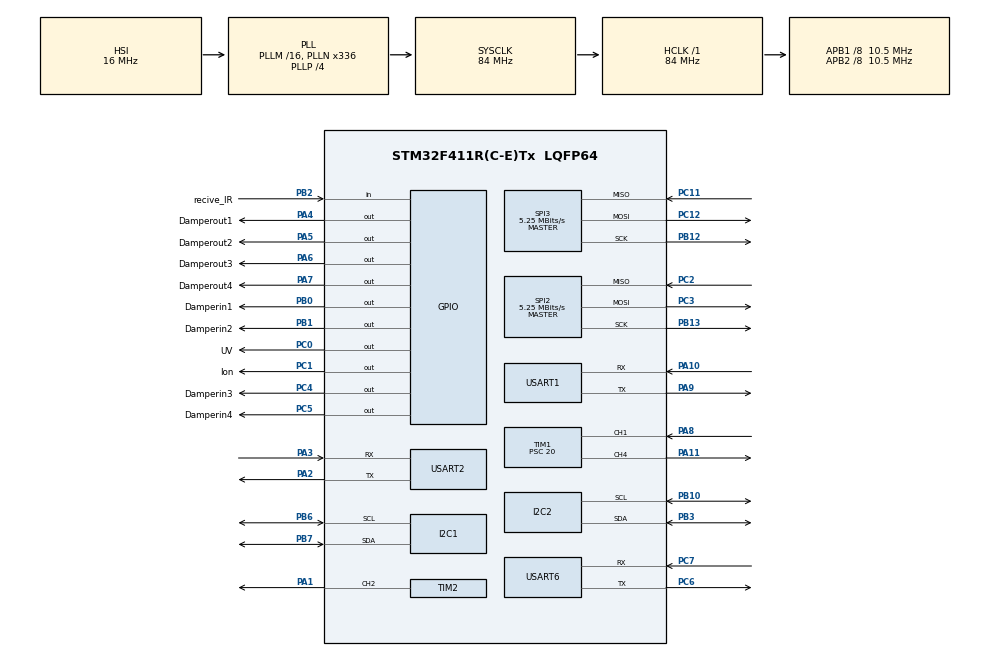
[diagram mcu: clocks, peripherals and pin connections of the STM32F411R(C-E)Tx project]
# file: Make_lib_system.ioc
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FREERTOS.Tasks01=SensorTask,1,128,StartSensor_Task,Default,NULL,Dynamic,NULL,NULL;ControlTask,0,128,StartControl_Task,Default,NULL,Dynamic,NULL,NULL;DisplayTask,-1,128,StartDisplay_task,Default,NULL,Dynamic,NULL,NULL;ServerTask,1,128,StartServer_task,Default,NULL,Dynamic,NULL,NULL
Mcu.Family=STM32F4
Mcu.Name=STM32F411R(C-E)Tx
Mcu.Package=LQFP64
NVIC.I2C1_ER_IRQn=true\:5\:0\:false\:false\:true\:true\:true\:true
NVIC.I2C1_EV_IRQn=true\:5\:0\:false\:false\:true\:true\:true\:true
NVIC.PriorityGroup=NVIC_PRIORITYGROUP_4
NVIC.TIM1_CC_IRQn=true\:5\:0\:false\:false\:true\:true\:true\:true
NVIC.TIM2_IRQn=true\:5\:0\:false\:false\:true\:true\:true\:true
NVIC.TIM3_IRQn=true\:5\:0\:false\:false\:true\:true\:true\:true
NVIC.TIM4_IRQn=true\:0\:0\:false\:false\:true\:false\:false\:true
NVIC.TimeBase=TIM4_IRQn
NVIC.TimeBaseIP=TIM4
NVIC.USART2_IRQn=true\:5\:0\:false\:false\:true\:true\:true\:true
PA1.Signal=S_TIM2_CH2
PA10.Mode=Asynchronous
PA10.Signal=USART1_RX
PA11.Signal=S_TIM1_CH4
PA2.Mode=Asynchronous
PA2.Signal=USART2_TX
PA3.Mode=Asynchronous
PA3.Signal=USART2_RX
PA4.GPIO_Label=Damperout1
PA4.Signal=GPIO_Output
PA5.GPIO_Label=Damperout2
PA5.Signal=GPIO_Output
PA6.GPIO_Label=Damperout3
PA6.Signal=GPIO_Output
PA7.GPIO_Label=Damperout4
PA7.Signal=GPIO_Output
PA8.Signal=S_TIM1_CH1
PA9.Mode=Asynchronous
PA9.Signal=USART1_TX
PB0.GPIO_Label=Damperin1
PB0.Signal=GPIO_Output
PB1.GPIO_Label=Damperin2
PB1.Signal=GPIO_Output
PB10.Mode=I2C
PB10.Signal=I2C2_SCL
PB12.Mode=Full_Duplex_Master
PB12.Signal=SPI3_SCK
PB13.Mode=Full_Duplex_Master
PB13.Signal=SPI2_SCK
PB2.GPIO_Label=recive_IR
PB2.Signal=GPIO_Input
PB3.Mode=I2C
PB3.Signal=I2C2_SDA
PB6.Mode=I2C
PB6.Signal=I2C1_SCL
PB7.Mode=I2C
PB7.Signal=I2C1_SDA
PC0.GPIO_Label=UV
PC0.Signal=GPIO_Output
PC1.GPIO_Label=Ion
PC1.Signal=GPIO_Output
PC11.Mode=Full_Duplex_Master
PC11.Signal=SPI3_MISO
PC12.Mode=Full_Duplex_Master
PC12.Signal=SPI3_MOSI
PC2.Mode=Full_Duplex_Master
PC2.Signal=SPI2_MISO
PC3.Mode=Full_Duplex_Master
PC3.Signal=SPI2_MOSI
PC4.GPIO_Label=Damperin3
PC4.Signal=GPIO_Output
PC5.GPIO_Label=Damperin4
PC5.Signal=GPIO_Output
PC6.Mode=Asynchronous
PC6.Signal=USART6_TX
PC7.Mode=Asynchronous
PC7.Signal=USART6_RX
PH0\ -\ OSC_IN.Mode=HSE-External-Oscillator
PH0\ -\ OSC_IN.Signal=RCC_OSC_IN
PH1\ -\ OSC_OUT.Mode=HSE-External-Oscillator
PH1\ -\ OSC_OUT.Signal=RCC_OSC_OUT
ProjectManager.HeapSize=0x200
ProjectManager.StackSize=0x400
ProjectManager.TargetToolchain=STM32CubeIDE
RCC.48MHZClocksFreq_Value=84000000
RCC.AHBFreq_Value=84000000
RCC.APB1CLKDivider=RCC_HCLK_DIV8
RCC.APB1Freq_Value=10500000
RCC.APB1TimFreq_Value=21000000
RCC.APB2CLKDivider=RCC_HCLK_DIV8
RCC.APB2Freq_Value=10500000
RCC.APB2TimFreq_Value=21000000
RCC.CortexFreq_Value=84000000
RCC.HCLKFreq_Value=84000000
RCC.HSE_VALUE=25000000
RCC.HSI_VALUE=16000000
RCC.LSE_VALUE=32768
RCC.PLLN=336
RCC.PLLP=RCC_PLLP_DIV4
RCC.SYSCLKFreq_VALUE=84000000
RCC.SYSCLKSource=RCC_SYSCLKSOURCE_PLLCLK
RCC.VCOOutputFreq_Value=336000000
SH.S_TIM1_CH1.0=TIM1_CH1,Input_Capture1_from_TI1
SH.S_TIM1_CH4.0=TIM1_CH4,PWM Generation4 CH4
SH.S_TIM2_CH2.0=TIM2_CH2,PWM Generation2 CH2
SPI2.CalculateBaudRate=5.25 MBits/s
SPI2.Direction=SPI_DIRECTION_2LINES
SPI2.Mode=SPI_MODE_MASTER
SPI2.VirtualType=VM_MASTER
SPI3.CalculateBaudRate=5.25 MBits/s
SPI3.Direction=SPI_DIRECTION_2LINES
SPI3.Mode=SPI_MODE_MASTER
SPI3.VirtualType=VM_MASTER
TIM1.Channel-Input_Capture1_from_TI1=TIM_CHANNEL_1
TIM1.Channel-PWM\ Generation4\ CH4=TIM_CHANNEL_4
TIM1.Period=4999
TIM1.Prescaler=20
TIM2.Channel-PWM\ Generation2\ CH2=TIM_CHANNEL_2
USART1.VirtualMode=VM_ASYNC
USART2.VirtualMode=VM_ASYNC
USART6.VirtualMode=VM_ASYNC
VP_FREERTOS_VS_CMSIS_V1.Mode=CMSIS_V1
VP_SYS_VS_tim4.Mode=TIM4
VP_TIM1_VS_ClockSourceINT.Mode=Internal
VP_TIM2_VS_ClockSourceINT.Mode=Internal
VP_TIM3_VS_ClockSourceINT.Mode=Internal
board=custom

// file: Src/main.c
/* USER CODE BEGIN Header */
/**
  ******************************************************************************
  * @file           : main.c
  * @brief          : Main program body
  ******************************************************************************
  * @attention
  *
  * <h2><center>&copy; Copyright (c) 2020 STMicroelectronics.
  * All rights reserved.</center></h2>
  *
  * This software component is licensed by ST under Ultimate Liberty license
  * SLA0044, the "License"; You may not use this file except in compliance with
  * the License. You may obtain a copy of the License at:
  *                             www.st.com/SLA0044
  *
  ******************************************************************************
  */
/* USER CODE END Header */

#include "main.h"
#include "cmsis_os.h"

/* USER CODE BEGIN Includes */
#include "stdbool.h"
#include "string.h"
#include "IRremote.h"
#include "MQTTClient.h"
#include "MQTTConnect.h"
#include "amw_uart.h"
#include "svm30.h"
#include "sensirion_i2c.h"
#include "sm_uart-04l.h"
#include "fan.h"
/* USER CODE END Includes */

/* USER CODE BEGIN PD */
#define MQTT_PUB_TOPIC              "leetest"
#define MQTT_SUB_TOPIC              "diem"
#define MQTT_CLIENT_ID              "Zentri"
#define MQTT_USER                   "myuncjoa"
#define MQTT_PASSWORD               "SvVx1BPwTVqk"
#define MQTT_HOST                   "m24.cloudmqtt.com"
#define MQTT_PORT                   14022
#define MQTT_PUBLISH_PERIOD         5000
#define MQTT_MESSAGE                "{\"name\": \"ERV\", \"id\": \"hethong123\"}"
//** Define SSID và PASSWORD để kết nối wifi **//
#define SSID_WIFI "Ceidanang open"
#define PASS_WIFI "ceidanang"
//** Define MQTT TOPIC cần subcribse từ Broker để giao tiếp vs app **//
#define TOPIC_DEVICE_ID "esp/request/collect/device-info"
#define TOPIC_AIR_QUALITY "esp/request/collect/air-quality"
#define TOPIC_CONTROL_STATE "esp/request/collect/control-state"
#define TOPIC_POWER_ON "esp/request/control/power-on"
#define TOPIC_POWER_OFF "esp/request/control/power-off"
#define TOPIC_NIGHT_MODE "esp/request/control/night_mode"
#define TOPIC_ION "esp/request/control/ion"
#define TOPIC_UV "esp/request/control/uv"
#define TOPIC_FILTER "esp/request/control/filter_mode"
#define TOPIC_CONTROL "esp/request/control/control_mode"
#define TOPIC_SPEED_LOW "esp/request/control/low"
#define TOPIC_SPEED_MED "esp/request/control/med"
#define TOPIC_SPEED_HIGH "esp/request/control/high"
//** Define MQTT Topic cần để publish lên Broker**//
#define TOPIC_PUB_AIR_QUALITY 	"esp/response/collect/air-quality"
#define TOPIC_PUB_CONTROL_STATE  "esp/response/collect/control-state"
#define TOPIC_PUB_INFO "esp/response/collect/device-info"

/* USER CODE END PD */

I2C_HandleTypeDef hi2c1;
I2C_HandleTypeDef hi2c2;

SPI_HandleTypeDef hspi2;
SPI_HandleTypeDef hspi3;

TIM_HandleTypeDef htim1;
TIM_HandleTypeDef htim2;
TIM_HandleTypeDef htim3;

UART_HandleTypeDef huart1;
UART_HandleTypeDef huart2;
UART_HandleTypeDef huart6;

osThreadId SensorTaskHandle;
osThreadId ControlTaskHandle;
osThreadId DisplayTaskHandle;
osThreadId ServerTaskHandle;
/* USER CODE BEGIN PV */
#ifdef __GNUC__
  /* With GCC, small printf (option LD Linker->Libraries->Small printf
     set to 'Yes') calls __io_putchar() */
  #define PUTCHAR_PROTOTYPE int __io_putchar(int ch)
#else
  #define PUTCHAR_PROTOTYPE int fputc(int ch, FILE *f)
#endif /* __GNUC__ */
/* USER CODE END PV */

void SystemClock_Config(void);
static void MX_GPIO_Init(void);
static void MX_I2C1_Init(void);
static void MX_I2C2_Init(void);
static void MX_SPI2_Init(void);
static void MX_SPI3_Init(void);
static void MX_TIM1_Init(void);
static void MX_TIM2_Init(void);
static void MX_TIM3_Init(void);
static void MX_USART1_UART_Init(void);
static void MX_USART2_UART_Init(void);
static void MX_USART6_UART_Init(void);
void StartSensor_Task(void const * argument);
void StartControl_Task(void const * argument);
void StartDisplay_task(void const * argument);
void StartServer_task(void const * argument);

/* USER CODE BEGIN PFP */
// biến mqtt
char  Rx_data[2], Rx_Buffer[40];
unsigned char uart_reponse[512];
int Transfer_cplt = 0;
int Rx_indx = 0;
MQTTClient client = DefaultClient;
Network network;
MQTTPacket_connectData data = MQTTPacket_connectData_initializer;
static MQTTClient client1 = DefaultClient;
uint8_t start_subcribe = 0;
int i = 0;
int ret;
unsigned char send_buf[512];
unsigned char recv_buf[2048];
char AQI[50];
char state[50];
//biến chế độ hệ thống
int night_mode;
int filter_mode;
int speed;
int power;
int Vanst = 0;
int control_mode;
int UV_mode;
int ION_mode;
int ion_val;
bool huong;
char powerc[10];
char speedc[10];
char night[10];
char filter[10];
char control[10];
char uv[10];
char ion[10];
// biến đ�?c giá trị từ sensor

int16_t err;
uint16_t tvoc_ppb = 1, co2_ppm = 2;
uint32_t iaq_baseline;
int32_t temperature = 0, humidity = 0;
uint16_t PM25;
float temp, hum;
float PM25f;
int tmpIntPM1,tmpIntte1,tmpInthu1,tmpIntPM2,tmpIntte2,tmpInthu2;

struct amphenol amphenol1;
// Biến xử lí IR
int SwitchIR;
int ModeIR;
int SpeedIR;
int IonIR;
int flag = 0;
int flagSW, flagSP, flagMode, flagIon;
/* USER CODE END PFP */

/* USER CODE BEGIN 0 */
PUTCHAR_PROTOTYPE
{
  /* Place your implementation of fputc here */
  /* e.g. write a character to the EVAL_COM1 and Loop until the end of transmission */
  HAL_UART_Transmit(&huart2, (uint8_t *)&ch, 1, 0xFFFF);

  return ch;
}
int count = 0;

static int publish(void* payload,void* topic)
{
    char buf[100];
    MQTTMessage message;
    int rc;
    sprintf(buf, payload, (long unsigned int) HAL_GetTick()/1000);
    message.qos = QOS1;
    message.retained = 1;
    message.dup = 0;
    message.payload = (void*)buf;
    message.payloadlen = strlen(buf);

    rc = MQTTPublish(&client, topic, &message);
    return rc;
}
static void receive_handler(MessageData* rx_msg)
{

    char* topic = rx_msg->topicName->lenstring.data;
    //topic[rx_msg->topicName->lenstring.len] = '\0';
    printf("receive mqtt topic %s\r\n", topic);
    char *message = rx_msg->message->payload;
	message[rx_msg->message->payloadlen] = '\0';
	printf("receive mqtt %s\r\n", rx_msg->message->payload);
    if (!strncmp(topic,TOPIC_DEVICE_ID, strlen(TOPIC_DEVICE_ID))){
    	publish(MQTT_MESSAGE,TOPIC_PUB_INFO);
    }
    else if (!strncmp(topic,TOPIC_AIR_QUALITY, strlen(TOPIC_AIR_QUALITY))){
    	if (!strncmp(rx_msg->message->payload, "get-hethong123", rx_msg->message->payloadlen)){
    		publish(AQI,TOPIC_PUB_AIR_QUALITY);
    	}
    }
    else if (!strncmp(topic,TOPIC_CONTROL_STATE, strlen(TOPIC_CONTROL_STATE))){
		if (!strncmp(rx_msg->message->payload, "get-hethong123", rx_msg->message->payloadlen)){
			publish(state,TOPIC_PUB_CONTROL_STATE);
		}
    }
    else if (!strncmp(topic,TOPIC_POWER_ON, strlen(TOPIC_POWER_ON))){
		if (!strncmp(rx_msg->message->payload, "control-hethong123", rx_msg->message->payloadlen)){
			power = Power_On;
			speed = med;
			//fan_12_run(medspeed);
			xiaomi_fan_run(MED_SPEED);
			SwitchIR = 1;
		}
	}
    else if (!strncmp(topic,TOPIC_POWER_OFF, strlen(TOPIC_POWER_OFF))){
		if (!strncmp(rx_msg->message->payload, "control-hethong123", rx_msg->message->payloadlen)){
			power = Power_Off;
			speed = Power_Off;
			//fan_1_stop();
			//fan_2_stop();
			xiaomi_fan_stop();
			SwitchIR = 2;
		}
	}
    else if (!strncmp(topic,TOPIC_SPEED_LOW, strlen(TOPIC_POWER_OFF))){
		if (!strncmp(rx_msg->message->payload, "control-hethong123", rx_msg->message->payloadlen)){
			speed = low;
			//fan_12_run(lowspeed);
			xiaomi_fan_run(LOW_SPEED);
			SpeedIR = 1;
		}
	}
    else if (!strncmp(topic, TOPIC_SPEED_MED, strlen(TOPIC_POWER_OFF))){
   		if (!strncmp(rx_msg->message->payload, "control-hethong123", rx_msg->message->payloadlen)){
   			speed = med;
   			//fan_12_run(medspeed);
   			xiaomi_fan_run(MED_SPEED);
   			SpeedIR=2;
   		}
   	}
    else if (!strncmp(topic, TOPIC_SPEED_HIGH, strlen(TOPIC_SPEED_HIGH))){
		if (!strncmp(rx_msg->message->payload, "control-hethong123", rx_msg->message->payloadlen)){
			speed = hight;
			//fan_12_run(hightspeed);
			xiaomi_fan_run(HIGH_SPEED);
			SpeedIR=3;
		}
	}
    else if (!strncmp(topic,TOPIC_NIGHT_MODE, strlen(TOPIC_NIGHT_MODE))){
		if (!strncmp(rx_msg->message->payload, "control-hethong123 on", rx_msg->message->payloadlen)){
			speed = low;
			//fan_12_run(lowspeed);
			xiaomi_fan_run(LOW_SPEED);
			night_mode = Nightmode_On;
			ModeIR = 3;

		}
		else if (!strncmp(rx_msg->message->payload, "control-hethong123 off", rx_msg->message->payloadlen)){
			speed = med;
			//fan_12_run(medspeed);
			xiaomi_fan_run(MED_SPEED);
			night_mode = Nightmode_Off;
		}
	}
    else if (!strncmp(topic,TOPIC_FILTER, strlen(TOPIC_FILTER))){
		if (!strncmp(rx_msg->message->payload, "control-hethong123 fresh_air", rx_msg->message->payloadlen)){
			filter_mode = Fresh_Air;
			Vanst = 1;
			ModeIR = 1;
		}
		else if (!strncmp(rx_msg->message->payload, "control-hethong123 indoor", rx_msg->message->payloadlen)){
			filter_mode = Indoor;
			Vanst = 0;
			ModeIR = 2;
		}
	}
    else if (!strncmp(topic, TOPIC_CONTROL, strlen(TOPIC_CONTROL))){
  		if (!strncmp(rx_msg->message->payload, "control-hethong123 auto", rx_msg->message->payloadlen)){
  			control_mode = Auto ;
  		}
  		else if (!strncmp(rx_msg->message->payload, "control-hethong123 manual", rx_msg->message->payloadlen)){
  			control_mode = Manual;
  		}
  	}
    else if (!strncmp(topic, TOPIC_UV, strlen(TOPIC_UV))){
   		if (!strncmp(rx_msg->message->payload, "control-hethong123 on", rx_msg->message->payloadlen)){
   			UV_mode = UVon;
   			HAL_GPIO_WritePin(UV_GPIO_Port, UV_Pin, GPIO_PIN_SET);

   		}
   		else if (!strncmp(rx_msg->message->payload, "control-hethong123 off", rx_msg->message->payloadlen)){
   			UV_mode = UVoff;
   			HAL_GPIO_WritePin(UV_GPIO_Port, UV_Pin, GPIO_PIN_RESET);

   		}
   	}
    else if (!strncmp(topic, TOPIC_ION, strlen(TOPIC_ION))){
		if (!strncmp(rx_msg->message->payload, "control-hethong123 on", rx_msg->message->payloadlen)){
			ION_mode = IONon;
			HAL_GPIO_WritePin(Ion_GPIO_Port, Ion_Pin, GPIO_PIN_SET);
			IonIR = 1;

		}
		else if (!strncmp(rx_msg->message->payload, "control-hethong123 off", rx_msg->message->payloadlen)){
			ION_mode = IONoff;
			HAL_GPIO_WritePin(Ion_GPIO_Port, Ion_Pin, GPIO_PIN_SET);
			IonIR = 2;
		}
	}

}
void Convertvalue(void){

	//PM25 = 22.33;
	tmpIntPM1 = (int)PM25;
	float tmpFPM = PM25 - tmpIntPM1;
	tmpIntPM2 = trunc(tmpFPM * 100);
	//temperature = 9977;
	temp = (float)(temperature/1000.0f);
	tmpIntte1 = (int)temp;
	float tmpT = temp - tmpIntte1;
	tmpIntte2 = trunc(tmpT * 100);
	//humidity = 9876;
	hum = (float)(humidity/1000.0f);
	tmpInthu1 = (int) hum;
	float tmpH = hum - tmpInthu1;
	tmpInthu2 = trunc(tmpH * 100);
}
void Control_IR(void){

	 if (SwitchIR == 1 && flagSW == 1){
			  power = Power_On;
			  speed = med;
			  //fan_12_run(medspeed);
			  xiaomi_fan_run(MED_SPEED);
			  flagSW = 0;
		  }
		  else if (SwitchIR == 2 && flagSW == 1) {
			  power = Power_Off;
			  speed = Power_Off;
			  //fan_1_stop();
			  //fan_2_stop();
			  xiaomi_fan_stop();
			  flagSW = 0;
		  }
		  if (SpeedIR == 1 && flagSP == 1 && SwitchIR == 1){
			  //fan_12_run(lowspeed);
			  xiaomi_fan_run(LOW_SPEED);
			  flagSP = 0;
		  }
		  else if (SpeedIR == 2 && flagSP == 1 && SwitchIR == 1){
			  //fan_12_run(medspeed);
			  xiaomi_fan_run(MED_SPEED);
			  flagSP = 0;
		  }
		  else if (SpeedIR == 3 && flagSP == 1 && SwitchIR == 1){
			 //fan_12_run(hightspeed);
			  xiaomi_fan_run(HIGH_SPEED);
			  flagSP = 0;
		  }
		  if (ModeIR == 1 && flagMode == 1 && SwitchIR == 1){
			  filter_mode = Fresh_Air;
			  Vanst = 1;
			  night_mode = Nightmode_Off;
			  flagMode = 0;
		  }
		  else if (ModeIR == 2 && flagMode == 1 && SwitchIR == 1){
			  filter_mode = Indoor;
			  Vanst = 0;
			  night_mode = Nightmode_Off;
			  flagMode = 0;
		  }
		  else if (ModeIR == 3 && flagMode == 1 && SwitchIR == 1){
			  speed = low;
			  //fan_12_run(lowspeed);
			  xiaomi_fan_run(LOW_SPEED);
			  night_mode = Nightmode_On;
			  flagMode = 0;

		  }
		  if (IonIR == 1 && flagIon == 1 && SwitchIR == 1){
			  ION_mode = IONon;
			  HAL_GPIO_WritePin(Ion_GPIO_Port, Ion_Pin, GPIO_PIN_SET);
			  flagIon = 0;
		  }
		  else if (IonIR == 2 && flagIon == 1 && SwitchIR == 1) {
			  ION_mode = IONoff;
			  HAL_GPIO_WritePin(Ion_GPIO_Port, Ion_Pin, GPIO_PIN_RESET);
			  flagIon = 0;
		  }
}
void checkState(){
	if (power == 0){
		sprintf(powerc,"OFF");
	}
	else {
		sprintf(powerc,"ON");
	}
	if (speed == 0){
		sprintf(speedc,"0");
		}
	else if (speed == 1) {
		sprintf(speedc,"1");
	}
	else if (speed == 2) {
		sprintf(speedc,"2");
	}
	else {
		sprintf(speedc,"3");
	}
	if (night_mode == 0){
		sprintf(night,"off");
	}
	else {
		sprintf(night,"on");
	}

	if (filter_mode == 0){
		sprintf(filter,"fresh");
	}
	else {
		sprintf(filter,"indoor");
	}

	if (control_mode == 0){
		sprintf(control,"manual");
	}
	else {
		sprintf(control,"auto");
	}

	if (UV_mode == 0){
		sprintf(uv,"off");
	}
	else {
		sprintf(uv,"on");
	}
	if (ION_mode == 0){
		sprintf(ion,"off");
	}
	else {
		sprintf(ion,"on");
	}
	sprintf(state,"%s-%s-%s-%s-%s-%s-%s",powerc,speedc,night,filter,control,uv,ion);

}
/* mình không sử dụng cái này*/
void testMQTT(){

	Network network;
	MQTTPacket_connectData data = MQTTPacket_connectData_initializer;

	Timer timer;
	// Doan nay co the thay bang ham
	  memset(uart_reponse, 0, sizeof(uart_reponse));
	  amw_write("set system.cmd.format machine\r\n");
	  i = getCmdResponse(uart_reponse);
	  printf("%d, %s\r\n", i, uart_reponse);

	  data.MQTTVersion = 4;
	  data.clientID.cstring = MQTT_CLIENT_ID;
	  data.username.cstring = MQTT_USER;
	  data.password.cstring = MQTT_PASSWORD;
	  HAL_Delay(100);
	  if(setupNetwork(SSID_WIFI, PASS_WIFI)){
		  printf("setup network failed\r\n");
	  }
	  HAL_Delay(100);
	  if(NetworkInit(&network))
		  printf("init failed\r\n");
	  else
		  printf("network up\r\n");
	  HAL_Delay(100);
	  ret = isTCPPortOpen();
	  if(ret >= 0){
		  amw_write("close 0\r\n");
		  i = getCmdResponse(uart_reponse);
		  printf("%d, %s\r\n", i, uart_reponse);
	  }
	  HAL_Delay(100);
	  ret = NetworkConnect(&network, MQTT_HOST, MQTT_PORT);
	  if(ret == FAILURE)
	  {
		  // error, return
		  printf("network connect tcp failed\r\n");
		  HAL_Delay(100);
		  amw_write("close 0\r\n");
		  i = getCmdResponse(uart_reponse);
		  printf("%d, %s\r\n", i, uart_reponse);
		  return ret;
	  }
	  printf("network connect tcp success\r\n");
	  HAL_Delay(250);

	  MQTTClientInit(&client, &network, 10000, send_buf, sizeof(send_buf), recv_buf, sizeof(recv_buf));
	  HAL_Delay(250);

	  ret = MQTTConnect(&client, &data);
	  if(ret != SUCCESS)
	  {
		  // error, return
		  printf("failed to connect mqtt\r\n");
		  NetworkDisconnect(&network);
		  return ret;
	  }
	  printf("test success to connect mqtt\r\n");
	  HAL_Delay(250);
	  MQTTSubscribe(&client, MQTT_SUB_TOPIC, QOS1, receive_handler);
	  start_subcribe = 1;
	  HAL_Delay(250);
	  publish(MQTT_MESSAGE,MQTT_PUB_TOPIC);
	  TimerInit(&timer);
	  TimerCountdownMS(&timer, 90000);
	  while (!TimerIsExpired(&timer))
	  {
	    /* USER CODE END WHILE */

	    /* USER CODE BEGIN 3 */
		  MQTTYield(&client, 500);
	  }
	  printf("test mqtt disconnect\r\n");
	  MQTTDisconnect(&client);
	  NetworkDisconnect(&network);
	  /* USER CODE END 3 */
}

void subcribeMQTT(){
	printf("subcribe\r\n");
	MQTTSubscribe(&client, "lee", QOS1, receive_handler);
	HAL_Delay(250);
	MQTTSubscribe(&client, MQTT_SUB_TOPIC, QOS1, receive_handler);
	printf("finish subcribe\r\n");
}

void initMQTT(){

	Timer timer;
	// Doan nay co the thay bang ham
	  memset(uart_reponse, 0, sizeof(uart_reponse));
	  amw_write("set system.cmd.format machine\r\n");
	  i = getCmdResponse(uart_reponse);
	  printf("%d, %s\r\n", i, uart_reponse);

	  data.MQTTVersion = 4;
	  data.clientID.cstring = MQTT_CLIENT_ID;
	  data.username.cstring = MQTT_USER;
	  data.password.cstring = MQTT_PASSWORD;
	  HAL_Delay(100);
	  if(setupNetwork(SSID_WIFI, PASS_WIFI)){
		  printf("setup network failed\r\n");
	  }
	  HAL_Delay(100);
	  if(NetworkInit(&network))
		  printf("init failed\r\n");
	  else
		  printf("network up\r\n");
	  HAL_Delay(100);
	  ret = isTCPPortOpen();
	  if(ret >= 0){
		  amw_write("close 0\r\n");
		  i = getCmdResponse(uart_reponse);
		  printf("%d, %s\r\n", i, uart_reponse);
	  }
	  HAL_Delay(100);
	  ret = NetworkConnect(&network, MQTT_HOST, MQTT_PORT);
	  if(ret == FAILURE)
	  {
		  // error, return
		  printf("network connect tcp failed\r\n");
		  HAL_Delay(100);
		  amw_write("close 0\r\n");
		  i = getCmdResponse(uart_reponse);
		  printf("%d, %s\r\n", i, uart_reponse);
		  return ret;
	  }
	  printf("network connect tcp success\r\n");
	  HAL_Delay(250);

	  MQTTClientInit(&client, &network, 10000, send_buf, sizeof(send_buf), recv_buf, sizeof(recv_buf));
	  HAL_Delay(250);

	  ret = MQTTConnect(&client, &data);
	  if(ret != SUCCESS)
	  {
		  // error, return
		  printf("failed to connect mqtt\r\n");
		  NetworkDisconnect(&network);
		  return ret;
	  }
	  printf("test success to connect mqtt\r\n");
	  HAL_Delay(250);
	  /*printf("subcribe init\r\n");
	MQTTSubscribe(&client, MQTT_SUB_TOPIC, QOS1, receive_handler);
	HAL_Delay(250);
	printf("finish subcribe init\r\n");
	publish(MQTT_MESSAGE,MQTT_PUB_TOPIC);*/
	  //subcribeMQTT();
	  /* USER CODE END 3 */
}

/* Khởi tạo kết nối MQTT */
void init_MQTT(void){
		//Network network;
		//MQTTPacket_connectData data = MQTTPacket_connectData_initializer;

		Timer timer;
		// Doan nay co the thay bang ham
		  memset(uart_reponse, 0, sizeof(uart_reponse));
		  amw_write("set system.cmd.format machine\r\n");
		  i = getCmdResponse(uart_reponse);
		  printf("%d, %s\r\n", i, uart_reponse);

		  data.MQTTVersion = 4;
		  data.clientID.cstring = MQTT_CLIENT_ID;
		  data.username.cstring = MQTT_USER;
		  data.password.cstring = MQTT_PASSWORD;
		  HAL_Delay(100);
		  if(setupNetwork(SSID_WIFI, PASS_WIFI)){
			  printf("setup network failed\r\n");
		  }
		  HAL_Delay(100);
		  if(NetworkInit(&network))
			  printf("init failed\r\n");
		  else
			  printf("network up\r\n");
		  HAL_Delay(100);
		  ret = isTCPPortOpen();
		  if(ret >= 0){
			  amw_write("close 0\r\n");
			  i = getCmdResponse(uart_reponse);
			  printf("%d, %s\r\n", i, uart_reponse);
		  }
		  HAL_Delay(100);
		  ret = NetworkConnect(&network, MQTT_HOST, MQTT_PORT);
		  if(ret == FAILURE)
		  {
			  // error, return
			  printf("network connect tcp failed\r\n");
			  HAL_Delay(100);
			  amw_write("close 0\r\n");
			  i = getCmdResponse(uart_reponse);
			  printf("%d, %s\r\n", i, uart_reponse);
			  return ret;
		  }

		  printf("network connect tcp success\r\n");
		  HAL_Delay(250);

		  MQTTClientInit(&client1, &network, 10000, send_buf, sizeof(send_buf), recv_buf, sizeof(recv_buf));
		  HAL_Delay(250);

		  ret = MQTTConnect(&client1, &data);
		  if(ret != SUCCESS)
		  {
			  // error, return
			  printf("failed to connect mqtt\r\n");
			  NetworkDisconnect(&network);
			  return ret;
		  }
		  printf("success to connect mqtt\r\n");

}
void Subcribes_MQTT(void){
	MQTTSubscribe(&client1, MQTT_SUB_TOPIC, QOS1, receive_handler);
	HAL_Delay(250);
	 MQTTSubscribe(&client1, TOPIC_DEVICE_ID, QOS0, receive_handler);
	 HAL_Delay(250);
	 MQTTSubscribe(&client1, TOPIC_AIR_QUALITY, QOS0, receive_handler);
	 HAL_Delay(250);
	 MQTTSubscribe(&client1, TOPIC_CONTROL_STATE, QOS0, receive_handler);
	 HAL_Delay(250);
	 MQTTSubscribe(&client1, TOPIC_POWER_ON, QOS0, receive_handler);
	 HAL_Delay(250);
	 MQTTSubscribe(&client1, TOPIC_POWER_OFF, QOS0, receive_handler);
	 HAL_Delay(250);
	 MQTTSubscribe(&client1, TOPIC_NIGHT_MODE, QOS0, receive_handler);
	 HAL_Delay(250);
	 MQTTSubscribe(&client1, TOPIC_ION, QOS0, receive_handler);
	 HAL_Delay(250);
	 MQTTSubscribe(&client1, TOPIC_UV, QOS0, receive_handler);
	 HAL_Delay(250);
	 MQTTSubscribe(&client1, TOPIC_FILTER, QOS0, receive_handler);
	 HAL_Delay(250);
	 MQTTSubscribe(&client1, TOPIC_CONTROL, QOS0, receive_handler);
	 HAL_Delay(250);
	 MQTTSubscribe(&client1, TOPIC_SPEED_LOW, QOS0, receive_handler);
	 HAL_Delay(250);
	 MQTTSubscribe(&client1, TOPIC_SPEED_MED, QOS0, receive_handler);
	 HAL_Delay(250);
	 MQTTSubscribe(&client1, TOPIC_SPEED_HIGH, QOS0, receive_handler);
	 HAL_Delay(250);
	 MQTTSubscribe(&client1, "can", QOS0, receive_handler);
	 printf("finish subcribe\r\n");

}
/* USER CODE END 0 */

int main(void)
{

  /* MCU Configuration--------------------------------------------------------*/

  /* Reset of all peripherals, Initializes the Flash interface and the Systick. */
  HAL_Init();

  /* Configure the system clock */
  SystemClock_Config();

  /* Initialize all configured peripherals */
  MX_GPIO_Init();
  MX_I2C1_Init();
  MX_I2C2_Init();
  MX_SPI2_Init();
  MX_SPI3_Init();
  MX_TIM1_Init();
  MX_TIM2_Init();
  MX_TIM3_Init();
  MX_USART1_UART_Init();
  MX_USART2_UART_Init();
  MX_USART6_UART_Init();
  /* USER CODE BEGIN 2 */
  //khởi tạo kết nối cho IR
  my_enableIRIn();
  printf("test\r\n");
   //testMQTT();
  // Khởi tạo kết nối đến cảm biến
   //i2c_init_sensirion(&hi2c2);
   //SM_UART_04L_Init(&huart6);
   //err = sgp30_iaq_init();
   //startToRevSM04L();

  // Khởi tạo PWM cho quạt
  	 fan_init();

  // Khởi tạo kết nối MQTT
  	  //init_MQTT();
  	 //initMQTT();

  // Khởi tạo chế độ ban đầu cho hệ thống, ở đây sau này là lấy các biến lưu trong EEPROM
  night_mode = Nightmode_Off;
  speed = low;
  power = Power_On;
  control_mode = Manual;
  filter_mode = Fresh_Air;
  UV_mode = UVon;
  ION_mode = IONoff;
  ion_val = 0;
  HAL_GPIO_WritePin(UV_GPIO_Port, UV_Pin, GPIO_PIN_SET);
  HAL_GPIO_WritePin(Ion_GPIO_Port, Ion_Pin, GPIO_PIN_RESET);
  //fan_12_run(lowspeed);
  xiaomi_fan_run(LOW_SPEED);
  //Subcribes_MQTT();

  // subcribeMQTT();

  /* USER CODE END 2 */

  /* Create the thread(s) */
  /* definition and creation of SensorTask */
  osThreadDef(SensorTask, StartSensor_Task, osPriorityAboveNormal, 0, 128);
  SensorTaskHandle = osThreadCreate(osThread(SensorTask), NULL);

  /* definition and creation of ControlTask */
  osThreadDef(ControlTask, StartControl_Task, osPriorityNormal, 0, 128);
  ControlTaskHandle = osThreadCreate(osThread(ControlTask), NULL);

  /* definition and creation of DisplayTask */
  osThreadDef(DisplayTask, StartDisplay_task, osPriorityBelowNormal, 0, 128);
  DisplayTaskHandle = osThreadCreate(osThread(DisplayTask), NULL);

  /* definition and creation of ServerTask */
  osThreadDef(ServerTask, StartServer_task, osPriorityAboveNormal, 0, 128);
  ServerTaskHandle = osThreadCreate(osThread(ServerTask), NULL);

  /* Start scheduler */
  osKernelStart();

  /* We should never get here as control is now taken by the scheduler */

  /* Infinite loop */
  while (1)
  {

    /* USER CODE BEGIN 3 */
		  MQTTYield(&client, 500);
	  }
	  printf("test mqtt disconnect\r\n");
	  MQTTDisconnect(&client);
	  NetworkDisconnect(&network);
  /* USER CODE END 3 */
}

void SystemClock_Config(void)
{
  RCC_OscInitTypeDef RCC_OscInitStruct = {0};
  RCC_ClkInitTypeDef RCC_ClkInitStruct = {0};

  /** Configure the main internal regulator output voltage
  */
  __HAL_RCC_PWR_CLK_ENABLE();
  __HAL_PWR_VOLTAGESCALING_CONFIG(PWR_REGULATOR_VOLTAGE_SCALE1);
  /** Initializes the CPU, AHB and APB busses clocks
  */
  RCC_OscInitStruct.OscillatorType = RCC_OSCILLATORTYPE_HSI;
  RCC_OscInitStruct.HSIState = RCC_HSI_ON;
  RCC_OscInitStruct.HSICalibrationValue = RCC_HSICALIBRATION_DEFAULT;
  RCC_OscInitStruct.PLL.PLLState = RCC_PLL_ON;
  RCC_OscInitStruct.PLL.PLLSource = RCC_PLLSOURCE_HSI;
  RCC_OscInitStruct.PLL.PLLM = 16;
  RCC_OscInitStruct.PLL.PLLN = 336;
  RCC_OscInitStruct.PLL.PLLP = RCC_PLLP_DIV4;
  RCC_OscInitStruct.PLL.PLLQ = 4;
  if (HAL_RCC_OscConfig(&RCC_OscInitStruct) != HAL_OK)
  {
    Error_Handler();
  }
  /** Initializes the CPU, AHB and APB busses clocks
  */
  RCC_ClkInitStruct.ClockType = RCC_CLOCKTYPE_HCLK|RCC_CLOCKTYPE_SYSCLK
                              |RCC_CLOCKTYPE_PCLK1|RCC_CLOCKTYPE_PCLK2;
  RCC_ClkInitStruct.SYSCLKSource = RCC_SYSCLKSOURCE_PLLCLK;
  RCC_ClkInitStruct.AHBCLKDivider = RCC_SYSCLK_DIV1;
  RCC_ClkInitStruct.APB1CLKDivider = RCC_HCLK_DIV8;
  RCC_ClkInitStruct.APB2CLKDivider = RCC_HCLK_DIV8;

  if (HAL_RCC_ClockConfig(&RCC_ClkInitStruct, FLASH_LATENCY_2) != HAL_OK)
  {
    Error_Handler();
  }
}

static void MX_I2C1_Init(void)
{

  hi2c1.Instance = I2C1;
  hi2c1.Init.ClockSpeed = 100000;
  hi2c1.Init.DutyCycle = I2C_DUTYCYCLE_2;
  hi2c1.Init.OwnAddress1 = 0;
  hi2c1.Init.AddressingMode = I2C_ADDRESSINGMODE_7BIT;
  hi2c1.Init.DualAddressMode = I2C_DUALADDRESS_DISABLE;
  hi2c1.Init.OwnAddress2 = 0;
  hi2c1.Init.GeneralCallMode = I2C_GENERALCALL_DISABLE;
  hi2c1.Init.NoStretchMode = I2C_NOSTRETCH_DISABLE;
  if (HAL_I2C_Init(&hi2c1) != HAL_OK)
  {
    Error_Handler();
  }

}

static void MX_I2C2_Init(void)
{

  hi2c2.Instance = I2C2;
  hi2c2.Init.ClockSpeed = 100000;
  hi2c2.Init.DutyCycle = I2C_DUTYCYCLE_2;
  hi2c2.Init.OwnAddress1 = 0;
  hi2c2.Init.AddressingMode = I2C_ADDRESSINGMODE_7BIT;
  hi2c2.Init.DualAddressMode = I2C_DUALADDRESS_DISABLE;
  hi2c2.Init.OwnAddress2 = 0;
  hi2c2.Init.GeneralCallMode = I2C_GENERALCALL_DISABLE;
  hi2c2.Init.NoStretchMode = I2C_NOSTRETCH_DISABLE;
  if (HAL_I2C_Init(&hi2c2) != HAL_OK)
  {
    Error_Handler();
  }

}

static void MX_SPI2_Init(void)
{

  /* SPI2 parameter configuration*/
  hspi2.Instance = SPI2;
  hspi2.Init.Mode = SPI_MODE_MASTER;
  hspi2.Init.Direction = SPI_DIRECTION_2LINES;
  hspi2.Init.DataSize = SPI_DATASIZE_8BIT;
  hspi2.Init.CLKPolarity = SPI_POLARITY_LOW;
  hspi2.Init.CLKPhase = SPI_PHASE_1EDGE;
  hspi2.Init.NSS = SPI_NSS_SOFT;
  hspi2.Init.BaudRatePrescaler = SPI_BAUDRATEPRESCALER_2;
  hspi2.Init.FirstBit = SPI_FIRSTBIT_MSB;
  hspi2.Init.TIMode = SPI_TIMODE_DISABLE;
  hspi2.Init.CRCCalculation = SPI_CRCCALCULATION_DISABLE;
  hspi2.Init.CRCPolynomial = 10;
  if (HAL_SPI_Init(&hspi2) != HAL_OK)
  {
    Error_Handler();
  }

}

static void MX_SPI3_Init(void)
{

  /* SPI3 parameter configuration*/
  hspi3.Instance = SPI3;
  hspi3.Init.Mode = SPI_MODE_MASTER;
  hspi3.Init.Direction = SPI_DIRECTION_2LINES;
  hspi3.Init.DataSize = SPI_DATASIZE_8BIT;
  hspi3.Init.CLKPolarity = SPI_POLARITY_LOW;
  hspi3.Init.CLKPhase = SPI_PHASE_1EDGE;
  hspi3.Init.NSS = SPI_NSS_SOFT;
  hspi3.Init.BaudRatePrescaler = SPI_BAUDRATEPRESCALER_2;
  hspi3.Init.FirstBit = SPI_FIRSTBIT_MSB;
  hspi3.Init.TIMode = SPI_TIMODE_DISABLE;
  hspi3.Init.CRCCalculation = SPI_CRCCALCULATION_DISABLE;
  hspi3.Init.CRCPolynomial = 10;
  if (HAL_SPI_Init(&hspi3) != HAL_OK)
  {
    Error_Handler();
  }

}

static void MX_TIM1_Init(void)
{

  TIM_ClockConfigTypeDef sClockSourceConfig = {0};
  TIM_MasterConfigTypeDef sMasterConfig = {0};
  TIM_IC_InitTypeDef sConfigIC = {0};
  TIM_OC_InitTypeDef sConfigOC = {0};
  TIM_BreakDeadTimeConfigTypeDef sBreakDeadTimeConfig = {0};

  htim1.Instance = TIM1;
  htim1.Init.Prescaler = 20;
  htim1.Init.CounterMode = TIM_COUNTERMODE_UP;
  htim1.Init.Period = 4999;
  htim1.Init.ClockDivision = TIM_CLOCKDIVISION_DIV1;
  htim1.Init.RepetitionCounter = 0;
  htim1.Init.AutoReloadPreload = TIM_AUTORELOAD_PRELOAD_DISABLE;
  if (HAL_TIM_Base_Init(&htim1) != HAL_OK)
  {
    Error_Handler();
  }
  sClockSourceConfig.ClockSource = TIM_CLOCKSOURCE_INTERNAL;
  if (HAL_TIM_ConfigClockSource(&htim1, &sClockSourceConfig) != HAL_OK)
  {
    Error_Handler();
  }
  if (HAL_TIM_IC_Init(&htim1) != HAL_OK)
  {
    Error_Handler();
  }
  if (HAL_TIM_PWM_Init(&htim1) != HAL_OK)
  {
    Error_Handler();
  }
  sMasterConfig.MasterOutputTrigger = TIM_TRGO_RESET;
  sMasterConfig.MasterSlaveMode = TIM_MASTERSLAVEMODE_DISABLE;
  if (HAL_TIMEx_MasterConfigSynchronization(&htim1, &sMasterConfig) != HAL_OK)
  {
    Error_Handler();
  }
  sConfigIC.ICPolarity = TIM_INPUTCHANNELPOLARITY_RISING;
  sConfigIC.ICSelection = TIM_ICSELECTION_DIRECTTI;
  sConfigIC.ICPrescaler = TIM_ICPSC_DIV1;
  sConfigIC.ICFilter = 0;
  if (HAL_TIM_IC_ConfigChannel(&htim1, &sConfigIC, TIM_CHANNEL_1) != HAL_OK)
  {
    Error_Handler();
  }
  sConfigOC.OCMode = TIM_OCMODE_PWM1;
  sConfigOC.Pulse = 0;
  sConfigOC.OCPolarity = TIM_OCPOLARITY_HIGH;
  sConfigOC.OCFastMode = TIM_OCFAST_DISABLE;
  sConfigOC.OCIdleState = TIM_OCIDLESTATE_RESET;
  sConfigOC.OCNIdleState = TIM_OCNIDLESTATE_RESET;
  if (HAL_TIM_PWM_ConfigChannel(&htim1, &sConfigOC, TIM_CHANNEL_4) != HAL_OK)
  {
    Error_Handler();
  }
  sBreakDeadTimeConfig.OffStateRunMode = TIM_OSSR_DISABLE;
  sBreakDeadTimeConfig.OffStateIDLEMode = TIM_OSSI_DISABLE;
  sBreakDeadTimeConfig.LockLevel = TIM_LOCKLEVEL_OFF;
  sBreakDeadTimeConfig.DeadTime = 0;
  sBreakDeadTimeConfig.BreakState = TIM_BREAK_DISABLE;
  sBreakDeadTimeConfig.BreakPolarity = TIM_BREAKPOLARITY_HIGH;
  sBreakDeadTimeConfig.AutomaticOutput = TIM_AUTOMATICOUTPUT_DISABLE;
  if (HAL_TIMEx_ConfigBreakDeadTime(&htim1, &sBreakDeadTimeConfig) != HAL_OK)
  {
    Error_Handler();
  }
  HAL_TIM_MspPostInit(&htim1);

}

static void MX_TIM2_Init(void)
{

  TIM_ClockConfigTypeDef sClockSourceConfig = {0};
  TIM_MasterConfigTypeDef sMasterConfig = {0};
  TIM_OC_InitTypeDef sConfigOC = {0};

  htim2.Instance = TIM2;
  htim2.Init.Prescaler = 0;
  htim2.Init.CounterMode = TIM_COUNTERMODE_UP;
  htim2.Init.Period = 0;
  htim2.Init.ClockDivision = TIM_CLOCKDIVISION_DIV1;
  htim2.Init.AutoReloadPreload = TIM_AUTORELOAD_PRELOAD_DISABLE;
  if (HAL_TIM_Base_Init(&htim2) != HAL_OK)
  {
    Error_Handler();
  }
  sClockSourceConfig.ClockSource = TIM_CLOCKSOURCE_INTERNAL;
  if (HAL_TIM_ConfigClockSource(&htim2, &sClockSourceConfig) != HAL_OK)
  {
    Error_Handler();
  }
  if (HAL_TIM_PWM_Init(&htim2) != HAL_OK)
  {
    Error_Handler();
  }
  sMasterConfig.MasterOutputTrigger = TIM_TRGO_RESET;
  sMasterConfig.MasterSlaveMode = TIM_MASTERSLAVEMODE_DISABLE;
  if (HAL_TIMEx_MasterConfigSynchronization(&htim2, &sMasterConfig) != HAL_OK)
  {
    Error_Handler();
  }
  sConfigOC.OCMode = TIM_OCMODE_PWM1;
  sConfigOC.Pulse = 0;
  sConfigOC.OCPolarity = TIM_OCPOLARITY_HIGH;
  sConfigOC.OCFastMode = TIM_OCFAST_DISABLE;
  if (HAL_TIM_PWM_ConfigChannel(&htim2, &sConfigOC, TIM_CHANNEL_2) != HAL_OK)
  {
    Error_Handler();
  }
  HAL_TIM_MspPostInit(&htim2);

}

static void MX_TIM3_Init(void)
{

  TIM_ClockConfigTypeDef sClockSourceConfig = {0};
  TIM_MasterConfigTypeDef sMasterConfig = {0};

  htim3.Instance = TIM3;
  htim3.Init.Prescaler = 0;
  htim3.Init.CounterMode = TIM_COUNTERMODE_UP;
  htim3.Init.Period = 0;
  htim3.Init.ClockDivision = TIM_CLOCKDIVISION_DIV1;
  htim3.Init.AutoReloadPreload = TIM_AUTORELOAD_PRELOAD_DISABLE;
  if (HAL_TIM_Base_Init(&htim3) != HAL_OK)
  {
    Error_Handler();
  }
  sClockSourceConfig.ClockSource = TIM_CLOCKSOURCE_INTERNAL;
  if (HAL_TIM_ConfigClockSource(&htim3, &sClockSourceConfig) != HAL_OK)
  {
    Error_Handler();
  }
  sMasterConfig.MasterOutputTrigger = TIM_TRGO_RESET;
  sMasterConfig.MasterSlaveMode = TIM_MASTERSLAVEMODE_DISABLE;
  if (HAL_TIMEx_MasterConfigSynchronization(&htim3, &sMasterConfig) != HAL_OK)
  {
    Error_Handler();
  }

}

static void MX_USART1_UART_Init(void)
{

  huart1.Instance = USART1;
  huart1.Init.BaudRate = 115200;
  huart1.Init.WordLength = UART_WORDLENGTH_8B;
  huart1.Init.StopBits = UART_STOPBITS_1;
  huart1.Init.Parity = UART_PARITY_NONE;
  huart1.Init.Mode = UART_MODE_TX_RX;
  huart1.Init.HwFlowCtl = UART_HWCONTROL_NONE;
  huart1.Init.OverSampling = UART_OVERSAMPLING_16;
  if (HAL_UART_Init(&huart1) != HAL_OK)
  {
    Error_Handler();
  }

}

static void MX_USART2_UART_Init(void)
{

  huart2.Instance = USART2;
  huart2.Init.BaudRate = 115200;
  huart2.Init.WordLength = UART_WORDLENGTH_8B;
  huart2.Init.StopBits = UART_STOPBITS_1;
  huart2.Init.Parity = UART_PARITY_NONE;
  huart2.Init.Mode = UART_MODE_TX_RX;
  huart2.Init.HwFlowCtl = UART_HWCONTROL_NONE;
  huart2.Init.OverSampling = UART_OVERSAMPLING_16;
  if (HAL_UART_Init(&huart2) != HAL_OK)
  {
    Error_Handler();
  }

}

static void MX_USART6_UART_Init(void)
{

  huart6.Instance = USART6;
  huart6.Init.BaudRate = 115200;
  huart6.Init.WordLength = UART_WORDLENGTH_8B;
  huart6.Init.StopBits = UART_STOPBITS_1;
  huart6.Init.Parity = UART_PARITY_NONE;
  huart6.Init.Mode = UART_MODE_TX_RX;
  huart6.Init.HwFlowCtl = UART_HWCONTROL_NONE;
  huart6.Init.OverSampling = UART_OVERSAMPLING_16;
  if (HAL_UART_Init(&huart6) != HAL_OK)
  {
    Error_Handler();
  }

}

static void MX_GPIO_Init(void)
{
  GPIO_InitTypeDef GPIO_InitStruct = {0};

  /* GPIO Ports Clock Enable */
  __HAL_RCC_GPIOH_CLK_ENABLE();
  __HAL_RCC_GPIOC_CLK_ENABLE();
  __HAL_RCC_GPIOA_CLK_ENABLE();
  __HAL_RCC_GPIOB_CLK_ENABLE();

  /*Configure GPIO pin Output Level */
  HAL_GPIO_WritePin(GPIOC, UV_Pin|Ion_Pin|Damperin3_Pin|Damperin4_Pin, GPIO_PIN_RESET);

  /*Configure GPIO pin Output Level */
  HAL_GPIO_WritePin(GPIOA, Damperout1_Pin|Damperout2_Pin|Damperout3_Pin|Damperout4_Pin, GPIO_PIN_RESET);

  /*Configure GPIO pin Output Level */
  HAL_GPIO_WritePin(GPIOB, Damperin1_Pin|Damperin2_Pin, GPIO_PIN_RESET);

  /*Configure GPIO pins : UV_Pin Ion_Pin Damperin3_Pin Damperin4_Pin */
  GPIO_InitStruct.Pin = UV_Pin|Ion_Pin|Damperin3_Pin|Damperin4_Pin;
  GPIO_InitStruct.Mode = GPIO_MODE_OUTPUT_PP;
  GPIO_InitStruct.Pull = GPIO_NOPULL;
  GPIO_InitStruct.Speed = GPIO_SPEED_FREQ_LOW;
  HAL_GPIO_Init(GPIOC, &GPIO_InitStruct);

  /*Configure GPIO pins : Damperout1_Pin Damperout2_Pin Damperout3_Pin Damperout4_Pin */
  GPIO_InitStruct.Pin = Damperout1_Pin|Damperout2_Pin|Damperout3_Pin|Damperout4_Pin;
  GPIO_InitStruct.Mode = GPIO_MODE_OUTPUT_PP;
  GPIO_InitStruct.Pull = GPIO_NOPULL;
  GPIO_InitStruct.Speed = GPIO_SPEED_FREQ_LOW;
  HAL_GPIO_Init(GPIOA, &GPIO_InitStruct);

  /*Configure GPIO pins : Damperin1_Pin Damperin2_Pin */
  GPIO_InitStruct.Pin = Damperin1_Pin|Damperin2_Pin;
  GPIO_InitStruct.Mode = GPIO_MODE_OUTPUT_PP;
  GPIO_InitStruct.Pull = GPIO_NOPULL;
  GPIO_InitStruct.Speed = GPIO_SPEED_FREQ_LOW;
  HAL_GPIO_Init(GPIOB, &GPIO_InitStruct);

  /*Configure GPIO pin : recive_IR_Pin */
  GPIO_InitStruct.Pin = recive_IR_Pin;
  GPIO_InitStruct.Mode = GPIO_MODE_INPUT;
  GPIO_InitStruct.Pull = GPIO_NOPULL;
  HAL_GPIO_Init(recive_IR_GPIO_Port, &GPIO_InitStruct);

}

/* USER CODE BEGIN 4 */
void HAL_TIM_IC_CaptureCallback(TIM_HandleTypeDef *htim)
{
	uint32_t value;
	if (htim->Instance==TIM2)
	{
		i++;
		if(i==1)
		{
//			value1 = __HAL_TIM_GetCounter(&htim2);    //read TIM2 channel 1 capture value
			__HAL_TIM_SetCounter(&htim2, 0);    //reset counter after input capture interrupt occurs
		}
		if(i==2)
		{
			i = 0;
			value = __HAL_TIM_GetCounter(&htim2);    //read TIM2 channel 1 capture value
			__HAL_TIM_SetCounter(&htim2, 0);    //reset counter after input capture interrupt occurs
			speed = value*60/15;
			HAL_TIM_IC_Stop_IT(&htim2, TIM_CHANNEL_1);
		}
	}
}

/* USER CODE END 4 */

void StartSensor_Task(void const * argument)
{

  /* USER CODE BEGIN 5 */
	//svm30 SVM30;
	//getSVM30(&SVM30);
	//tvoc_ppb = SVM30.tvoc_ppb;
	//co2_ppm  = SVM30.co2_eq_ppm;
	//temperature = SVM30.temperature;
	//humidity = SVM30.humidity;
	//startToRevSM04L();
	//PM25 = amphenol1.PM2p5_Standard;
	//Convertvalue();
	//sprintf(AQI,"%d.%d-%d.%d-%d-%d-%d",tmpIntte1,tmpIntte2,tmpInthu1,tmpInthu2,PM25,tvoc_ppb,co2_ppm);
	//checkState();

  /* Infinite loop */
  for(;;)
  {
	HAL_GPIO_TogglePin(GPIOA, GPIO_PIN_5);
    osDelay(500);
  }
  /* USER CODE END 5 */
}

void StartControl_Task(void const * argument)
{
  /* USER CODE BEGIN StartControl_Task */
	char trans_str[96] = {0,};
	 static char *decode_str[] = {"UNUSED", "UNKNOWN", "RC5", "RC6", "NEC", "SONY", "PANASONIC", "JVC", "SAMSUNG", "WHYNTER", "AIWA_RC_T501", "LG", "SANYO", "MITSUBISHI", "DISH", "SHARP", "DENON", "PRONTO"};
	// if (Vanst == 1){
	//	 Vanst = 3;
	//	 directionOfRotation(false, 220);
	//}
	//else if(Vanst == 0){
	//	Vanst = 3;
	//	directionOfRotation(true, 220);
	//}
  /* Infinite loop */
  for(;;)
  {
	  if(my_decode(&results))
		{

			snprintf(trans_str, 96, "Cod: %p | Type: %s | Bits: %d\n", (void*)results.value, decode_str[results.decode_type + 1], results.bits);
			HAL_UART_Transmit(&huart2, (uint8_t*)&trans_str, sizeof(trans_str), 100);
			//printf("%s",trans_str);
			if ((void*)results.value == 0xffb04f ){
				SwitchIR++;
				flagSW = 1;
				if (SwitchIR == 3){
					SwitchIR = 1;
				}
			}
			if ((void*)results.value == 0xff22dd ){
				SpeedIR++;
				flagSP = 1;
				if (SpeedIR == 4){
					SpeedIR = 1;
				}
			}
			if ((void*)results.value == 0xff7887 ){
				ModeIR++;
				flagMode = 1;
				if (ModeIR == 4){
					ModeIR = 1;
				}
			}
			if ((void*)results.value == 0xff8877  ){
				IonIR++;
				flagIon = 1;
				if (IonIR == 3){
					IonIR = 1;
				}
			}
			Control_IR();

			my_resume();
		}

    osDelay(500);
  }
  /* USER CODE END StartControl_Task */
}

void StartDisplay_task(void const * argument)
{
  /* USER CODE BEGIN StartDisplay_task */
  /* Infinite loop */
  for(;;)
  {
    osDelay(500);
  }
  /* USER CODE END StartDisplay_task */
}

void StartServer_task(void const * argument)
{
  /* USER CODE BEGIN StartServer_task */
  /* Infinite loop */
  for(;;)
  {
    osDelay(500);
  }
  /* USER CODE END StartServer_task */
}

void HAL_TIM_PeriodElapsedCallback(TIM_HandleTypeDef *htim)
{
  /* USER CODE BEGIN Callback 0 */
	user_TIM_PeriodElapsedCallback(htim);
  /* USER CODE END Callback 0 */
  if (htim->Instance == TIM4) {
    HAL_IncTick();
  }
}

void Error_Handler(void)
{
}

/************************ (C) COPYRIGHT STMicroelectronics *****END OF FILE****/
